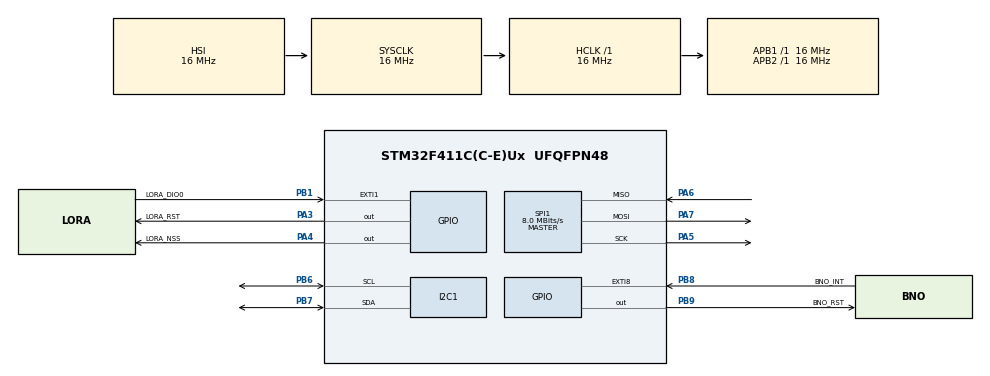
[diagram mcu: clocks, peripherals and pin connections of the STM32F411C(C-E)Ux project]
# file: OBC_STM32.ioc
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I2C1.I2C_Mode=I2C_Fast
Mcu.Family=STM32F4
Mcu.Name=STM32F411C(C-E)Ux
Mcu.Package=UFQFPN48
NVIC.EXTI1_IRQn=true\:0\:0\:false\:false\:true\:true\:true\:true
NVIC.EXTI9_5_IRQn=true\:0\:0\:false\:false\:true\:true\:true\:true
NVIC.I2C1_ER_IRQn=true\:0\:0\:false\:false\:true\:true\:true\:true
NVIC.I2C1_EV_IRQn=true\:0\:0\:false\:false\:true\:true\:true\:true
NVIC.PriorityGroup=NVIC_PRIORITYGROUP_4
NVIC.SPI1_IRQn=true\:0\:0\:false\:false\:true\:true\:true\:true
PA13.Mode=Serial_Wire
PA13.Signal=SYS_JTMS-SWDIO
PA14.Mode=Serial_Wire
PA14.Signal=SYS_JTCK-SWCLK
PA3.GPIO_Label=LORA_RST
PA3.PinState=GPIO_PIN_SET
PA3.Signal=GPIO_Output
PA4.GPIO_Label=LORA_NSS
PA4.PinState=GPIO_PIN_SET
PA4.Signal=GPIO_Output
PA5.Mode=Full_Duplex_Master
PA5.Signal=SPI1_SCK
PA6.Mode=Full_Duplex_Master
PA6.Signal=SPI1_MISO
PA7.Mode=Full_Duplex_Master
PA7.Signal=SPI1_MOSI
PB1.GPIO_Label=LORA_DIO0
PB1.Signal=GPXTI1
PB6.Mode=I2C
PB6.Signal=I2C1_SCL
PB7.Mode=I2C
PB7.Signal=I2C1_SDA
PB8.GPIO_Label=BNO_INT
PB8.GPIO_ModeDefaultEXTI=GPIO_MODE_IT_FALLING
PB8.Signal=GPXTI8
PB9.GPIO_Label=BNO_RST
PB9.PinState=GPIO_PIN_SET
PB9.Signal=GPIO_Output
ProjectManager.HeapSize=0x200
ProjectManager.StackSize=0x400
ProjectManager.TargetToolchain=STM32CubeIDE
RCC.AHBFreq_Value=16000000
RCC.APB1Freq_Value=16000000
RCC.APB2Freq_Value=16000000
RCC.CortexFreq_Value=16000000
RCC.HSE_VALUE=25000000
RCC.HSI_VALUE=16000000
RCC.LSE_VALUE=32768
RCC.SYSCLKFreq_VALUE=16000000
RCC.VCOOutputFreq_Value=192000000
SPI1.BaudRatePrescaler=SPI_BAUDRATEPRESCALER_2
SPI1.CalculateBaudRate=8.0 MBits/s
SPI1.Direction=SPI_DIRECTION_2LINES
SPI1.Mode=SPI_MODE_MASTER
SPI1.VirtualType=VM_MASTER
board=custom

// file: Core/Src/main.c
/* USER CODE BEGIN Header */
/**
******************************************************************************
* @file : main.c
* @brief : Main program body
******************************************************************************
* @attention
*
* Copyright (c) 2026 STMicroelectronics.
* All rights reserved.
*
* This software is licensed under terms that can be found in the LICENSE file
* in the root directory of this software component.
* If no LICENSE file comes with this software, it is provided AS-IS.
*
******************************************************************************
*/

/* USER CODE END Header */
#include "main.h"

/* USER CODE BEGIN Includes */
#include "sensors.h"
#include "sx1278.h"
#include "telemetry.h"
/* USER CODE END Includes */

I2C_HandleTypeDef hi2c1;
SPI_HandleTypeDef hspi1;

/* USER CODE BEGIN PV */
volatile uint8_t tx_ready = 1; // 1 = El radio está libre para enviar
uint32_t last_tick = 0;
CanSat_Packet telemetria;

// --- VARIABLES DE DEBUGGING ---
volatile uint8_t sx1278_version = 0;
volatile uint8_t sx1278_detected = 0;
volatile int g_sh2_open_rc = -1;
volatile uint8_t init_bme = 0;
volatile uint32_t tx_count = 0;
/* USER CODE END PV */

void SystemClock_Config(void);
static void MX_GPIO_Init(void);
static void MX_I2C1_Init(void);
static void MX_SPI1_Init(void);

int main(void)
{
    /* MCU Configuration--------------------------------------------------------*/
    /* Reset of all peripherals, Initializes the Flash interface and the Systick. */

    HAL_Init();

    /* Configure the system clock */

    SystemClock_Config();

    /* Initialize all configured peripherals */
    MX_GPIO_Init();
    MX_I2C1_Init();
    MX_SPI1_Init();

    /* USER CODE BEGIN 2 */
    HAL_Delay(100);
    sensors_init();
    sx1278_init(&hspi1);

    sx1278_version = sx1278_read_reg(0x42);
    if (sx1278_version == 0x12)
    {
        sx1278_detected = 1;
    }

    /* USER CODE END 2 */
    /* Infinite loop */
    /* USER CODE BEGIN WHILE */
    while (1)
    {

        sensors_service();
        // Lógica de disparo cada 500ms
        if (HAL_GetTick() - last_tick >= 500 && tx_ready)
        {

            last_tick = HAL_GetTick();
            // 1. Leer sensores (BME/BNO)
            read_sensors(&telemetria);
            // 2. Bloquear radio y enviar
            tx_ready = 0;
            sx1278_transmit_it((uint8_t *)&telemetria, sizeof(telemetria));
            tx_count++;
        }

        /* USER CODE END WHILE */
    }
}

void SystemClock_Config(void)
{
    RCC_OscInitTypeDef RCC_OscInitStruct = {0};
    RCC_ClkInitTypeDef RCC_ClkInitStruct = {0};

    /** Configure the main internal regulator output voltage*/

    __HAL_RCC_PWR_CLK_ENABLE();
    __HAL_PWR_VOLTAGESCALING_CONFIG(PWR_REGULATOR_VOLTAGE_SCALE1);

    /** Initializes the RCC Oscillators according to the specified parameters
    * in the RCC_OscInitTypeDef structure.*/

    RCC_OscInitStruct.OscillatorType = RCC_OSCILLATORTYPE_HSI;
    RCC_OscInitStruct.HSIState = RCC_HSI_ON;
    RCC_OscInitStruct.HSICalibrationValue = RCC_HSICALIBRATION_DEFAULT;
    RCC_OscInitStruct.PLL.PLLState = RCC_PLL_NONE;

    if (HAL_RCC_OscConfig(&RCC_OscInitStruct) != HAL_OK)
    {
        Error_Handler();
    }

    /** Initializes the CPU, AHB and APB buses clocks*/
    RCC_ClkInitStruct.ClockType = RCC_CLOCKTYPE_HCLK | RCC_CLOCKTYPE_SYSCLK | RCC_CLOCKTYPE_PCLK1 | RCC_CLOCKTYPE_PCLK2;
    RCC_ClkInitStruct.SYSCLKSource = RCC_SYSCLKSOURCE_HSI;
    RCC_ClkInitStruct.AHBCLKDivider = RCC_SYSCLK_DIV1;
    RCC_ClkInitStruct.APB1CLKDivider = RCC_HCLK_DIV1;
    RCC_ClkInitStruct.APB2CLKDivider = RCC_HCLK_DIV1;

    if (HAL_RCC_ClockConfig(&RCC_ClkInitStruct, FLASH_LATENCY_0) != HAL_OK)
    {
        Error_Handler();
    }
}

static void MX_I2C1_Init(void)
{

    hi2c1.Instance = I2C1;
    hi2c1.Init.ClockSpeed = 400000;
    hi2c1.Init.DutyCycle = I2C_DUTYCYCLE_2;
    hi2c1.Init.OwnAddress1 = 0;
    hi2c1.Init.AddressingMode = I2C_ADDRESSINGMODE_7BIT;
    hi2c1.Init.DualAddressMode = I2C_DUALADDRESS_DISABLE;
    hi2c1.Init.OwnAddress2 = 0;
    hi2c1.Init.GeneralCallMode = I2C_GENERALCALL_DISABLE;
    hi2c1.Init.NoStretchMode = I2C_NOSTRETCH_DISABLE;

    if (HAL_I2C_Init(&hi2c1) != HAL_OK)
    {
        Error_Handler();
    }

}

static void MX_SPI1_Init(void)
{
    /* SPI1 parameter configuration*/

    hspi1.Instance = SPI1;
    hspi1.Init.Mode = SPI_MODE_MASTER;
    hspi1.Init.Direction = SPI_DIRECTION_2LINES;
    hspi1.Init.DataSize = SPI_DATASIZE_8BIT;
    hspi1.Init.CLKPolarity = SPI_POLARITY_LOW;
    hspi1.Init.CLKPhase = SPI_PHASE_1EDGE;
    hspi1.Init.NSS = SPI_NSS_SOFT;
    hspi1.Init.BaudRatePrescaler = SPI_BAUDRATEPRESCALER_2;
    hspi1.Init.FirstBit = SPI_FIRSTBIT_MSB;
    hspi1.Init.TIMode = SPI_TIMODE_DISABLE;
    hspi1.Init.CRCCalculation = SPI_CRCCALCULATION_DISABLE;
    hspi1.Init.CRCPolynomial = 10;

    if (HAL_SPI_Init(&hspi1) != HAL_OK)
    {
        Error_Handler();
    }

}

static void MX_GPIO_Init(void)
{

    GPIO_InitTypeDef GPIO_InitStruct = {0};

    /* GPIO Ports Clock Enable */
    __HAL_RCC_GPIOA_CLK_ENABLE();
    __HAL_RCC_GPIOB_CLK_ENABLE();
    /*Configure GPIO pin Output Level */

    HAL_GPIO_WritePin(GPIOA, LORA_RST_Pin | LORA_NSS_Pin, GPIO_PIN_SET);

    /*Configure GPIO pin Output Level */

    HAL_GPIO_WritePin(BNO_RST_GPIO_Port, BNO_RST_Pin, GPIO_PIN_SET);

    /*Configure GPIO pins : LORA_RST_Pin LORA_NSS_Pin */

    GPIO_InitStruct.Pin = LORA_RST_Pin | LORA_NSS_Pin;
    GPIO_InitStruct.Mode = GPIO_MODE_OUTPUT_PP;
    GPIO_InitStruct.Pull = GPIO_NOPULL;
    GPIO_InitStruct.Speed = GPIO_SPEED_FREQ_LOW;
    HAL_GPIO_Init(GPIOA, &GPIO_InitStruct);

    /*Configure GPIO pin : LORA_DIO0_Pin */
    GPIO_InitStruct.Pin = LORA_DIO0_Pin;
    GPIO_InitStruct.Mode = GPIO_MODE_IT_RISING;
    GPIO_InitStruct.Pull = GPIO_NOPULL;

    HAL_GPIO_Init(LORA_DIO0_GPIO_Port, &GPIO_InitStruct);

    /*Configure GPIO pin : BNO_INT_Pin */

    GPIO_InitStruct.Pin = BNO_INT_Pin;
    GPIO_InitStruct.Mode = GPIO_MODE_IT_FALLING;
    GPIO_InitStruct.Pull = GPIO_NOPULL;

    HAL_GPIO_Init(BNO_INT_GPIO_Port, &GPIO_InitStruct);

    /*Configure GPIO pin : BNO_RST_Pin */

    GPIO_InitStruct.Pin = BNO_RST_Pin;
    GPIO_InitStruct.Mode = GPIO_MODE_OUTPUT_PP;
    GPIO_InitStruct.Pull = GPIO_NOPULL;
    GPIO_InitStruct.Speed = GPIO_SPEED_FREQ_LOW;

    HAL_GPIO_Init(BNO_RST_GPIO_Port, &GPIO_InitStruct);

    /* EXTI interrupt init*/

    HAL_NVIC_SetPriority(EXTI1_IRQn, 0, 0);
    HAL_NVIC_EnableIRQ(EXTI1_IRQn);
    HAL_NVIC_SetPriority(EXTI9_5_IRQn, 0, 0);
    HAL_NVIC_EnableIRQ(EXTI9_5_IRQn);

}

/* USER CODE BEGIN 4 */

void HAL_GPIO_EXTI_Callback(uint16_t GPIO_Pin)
{

    if (GPIO_Pin == LORA_DIO0_Pin)
    {
        sx1278_clear_irq();
        tx_ready = 1;
    }

    if (GPIO_Pin == BNO_INT_Pin)
    {
        // Aquí notificaremos al driver del BNO que hay datos listos
        // Por ahora lo dejamos vacío para que compile
    }
}

/* USER CODE END 4 */

void Error_Handler(void)

{
    __disable_irq();
    while (1)
    {
    }
}
